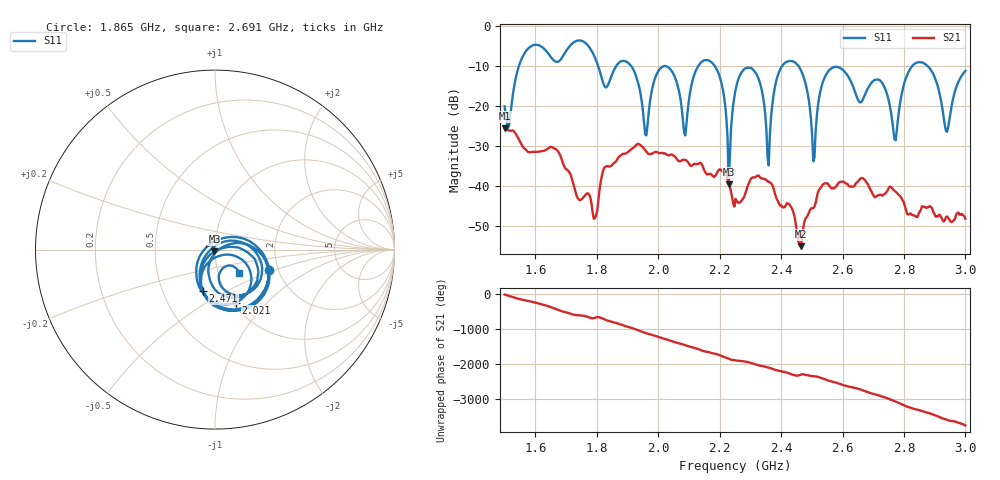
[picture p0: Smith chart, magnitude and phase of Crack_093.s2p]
# HZ S RI R 50
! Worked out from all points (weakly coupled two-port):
!   404 points, 1.5 GHz to 3 GHz, reference 50 ohm
!   highest |S21| = -25.61 dB at 1.5 GHz (marker M1); lowest = -55.1 dB at 2.464 GHz (marker M2)
!   lowest |S11| = -39.6 dB at 2.23 GHz (marker M3), VSWR 1.02, Z = 49.6 - j0.977 ohm
!   |S11| at or under -10 dB: 2.184 GHz to 2.403 GHz (219.3 MHz wide, 9.56 % of centre); 2.457 GHz to 2.827 GHz (370 MHz wide, 14 % of centre); 2.877 GHz to end of sweep (the widest 3 of 7)
!   S12 and S22 are empty: the file has one direction only
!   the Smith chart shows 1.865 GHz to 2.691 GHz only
!   S11 on the Smith chart (normalised r, x): 1.865 GHz: 1.80, -0.45; 2.021 GHz: 1.04, -0.68; 2.471 GHz: 0.79, -0.39; 2.691 GHz: 1.26, -0.34
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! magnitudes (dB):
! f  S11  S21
! 1.5 GHz  -20.1  -25.6
! 1.753 GHz  -3.7  -43.2
! 1.865 GHz  -9.8  -33.6
! 1.962 GHz  -27.4  -31.4
! 2.002 GHz  -11.0  -31.8
! 2.021 GHz  -10.0  -31.9
! 2.088 GHz  -27.4  -33.6
! 2.181 GHz  -9.7  -37.8
! 2.23 GHz  -39.6  -39.1
! 2.252 GHz  -16.0  -43.3
! 2.315 GHz  -11.5  -37.9
! 2.36 GHz  -34.9  -39.0
! 2.397 GHz  -10.9  -45.0
! 2.464 GHz  -11.0  -55.1
! 2.471 GHz  -12.3  -50.9
! 2.501 GHz  -27.6  -45.6
! 2.561 GHz  -10.8  -40.3
! 2.691 GHz  -14.6  -41.0
! 2.751 GHz  -18.7  -40.5
! 2.862 GHz  -9.2  -45.2
! 2.94 GHz  -26.5  -47.7
! 3 GHz  -11.2  -48.3
